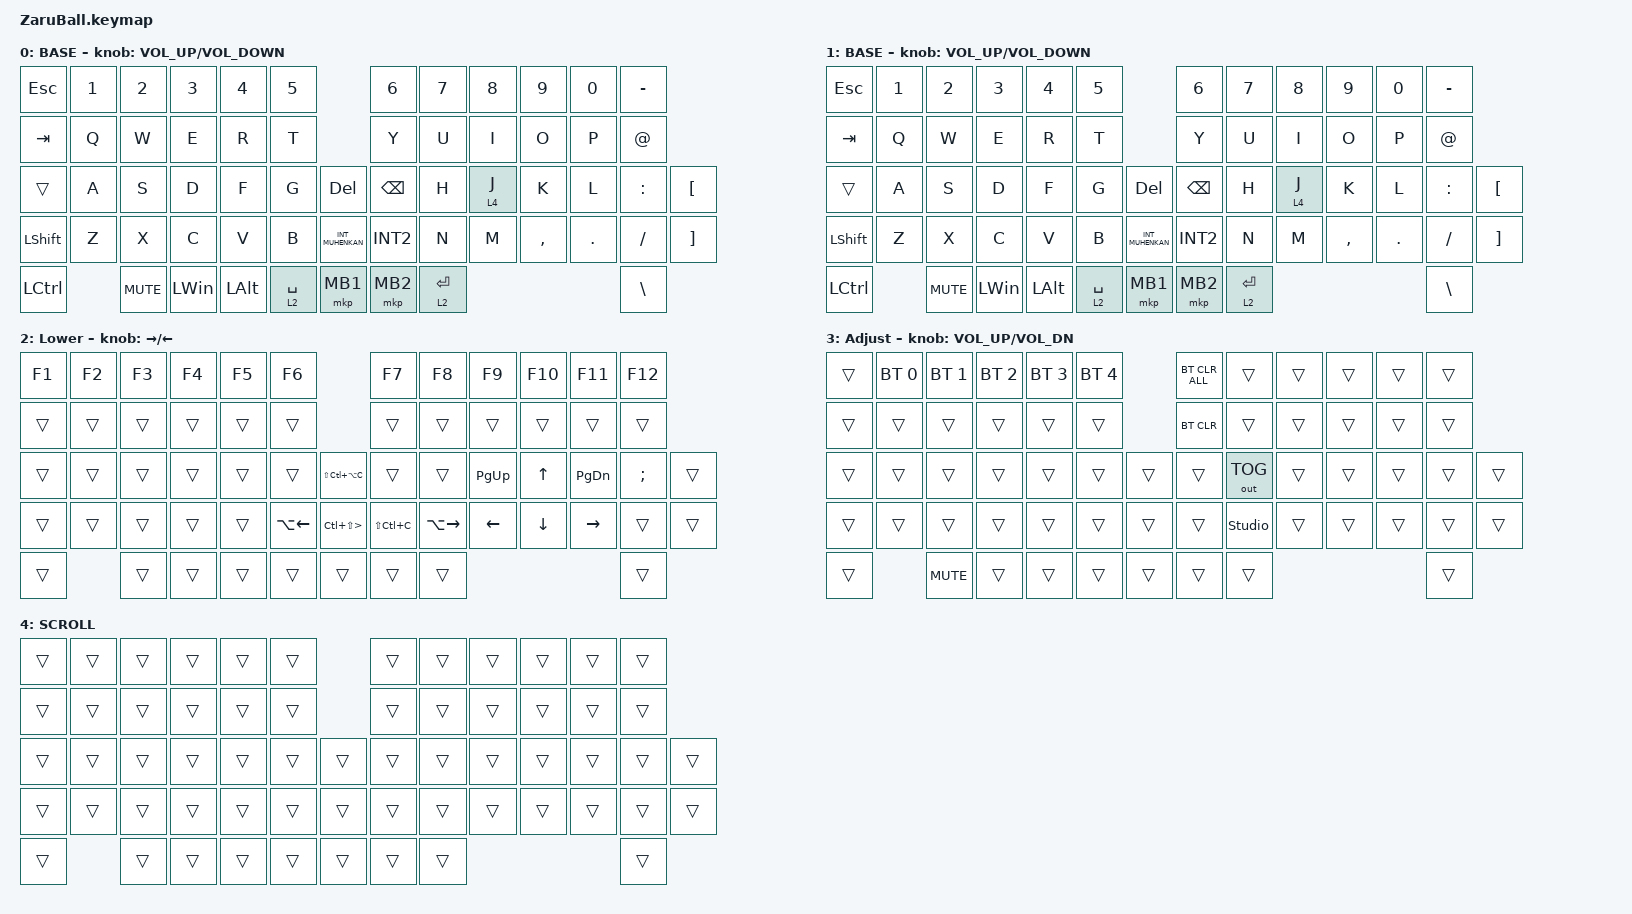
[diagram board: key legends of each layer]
#include <behaviors/rgbled_widget.dtsi>
#include <input/processors.dtsi>
#include <dt-bindings/zmk/input_transform.h>
#include <behaviors.dtsi>
#include <dt-bindings/zmk/bt.h>
#include <dt-bindings/zmk/keys.h>
#include <dt-bindings/zmk/outputs.h>
#include <dt-bindings/zmk/pointing.h>

#define BASE 0
#define LOWER 1
#define RAISE 2
#define ADJUST 3
#define MOUSE 4
#define SCROLL 4

// スクロール量の設定

#define ZMK_POINTING_DEFAULT_SCRL_VAL 100

// トラックボールの設定(AML, SCROLL)

&trackball_listener {
    input-processors = <
                        // トラックボールの向きの変更(ZaruBallv1とv2,v3ではセンサーの向きが異なるので調整してください。デフォルトではv2,v3用)
                         &zip_xy_transform (INPUT_TRANSFORM_XY_SWAP | INPUT_TRANSFORM_Y_INVERT | INPUT_TRANSFORM_X_INVERT)
                         &zip_temp_layer MOUSE 500 // 500ms stay at mouse layer
    >;

    scroller {
        layers = <SCROLL>;
        input-processors = <
                            // スクロールの向きの変更
                            &zip_xy_transform (INPUT_TRANSFORM_XY_SWAP | INPUT_TRANSFORM_X_INVERT)
                            &zip_xy_scaler 1 20 // スクロールの感度(default: x20)
                            &zip_xy_to_scroll_mapper
        >;
    };
};

/ {
    conditional_layers {
        compatible = "zmk,conditional-layers";

        tri_layer {
            if-layers = <2 3>;
            then-layer = <3>;
        };
    };
};

/ {
    behaviors {
        // スクロール用のbehaviorの設定

        scroll_down_up: behavior_sensor_rotate_mouse_wheel_down_up {
            compatible = "zmk,behavior-sensor-rotate";
            #sensor-binding-cells = <0>;
            bindings = <&msc SCRL_DOWN>, <&msc SCRL_UP>;

            tap-ms = <20>; // スクロールのタップ時間
        };

        td0: tap_dance_0 {
            compatible = "zmk,behavior-tap-dance";
            #binding-cells = <0>;
            tapping-term-ms = <200>;
            bindings = <&mt LALT LANG2>, <&mo 1>, <&mo 1>;
        };

        td1: tap_dance_1 {
            compatible = "zmk,behavior-tap-dance";
            #binding-cells = <0>;
            tapping-term-ms = <200>;
            bindings = <&mt RCTL LANG1>, <&mo 1>, <&mo 1>;
        };
    };
};

&sl { release-after-ms = <250>; }; // time needed for double click (for mkp_exit_AML)
/ {
    macros {
        // When in AML, move to default layer when key (except mouse button) pressed

        to_layer_0: to_layer_0 {
            compatible = "zmk,behavior-macro-one-param";
            #binding-cells = <1>;
            bindings = <&to 1 &macro_param_1to1 &kp MACRO_PLACEHOLDER>;
            label = "TO_layer_0";
        };

        // When LCLK pressed, exit AML (after 250ms cause by sticky layer)

        mkp_exit_AML: mkp_exit_AML {
            compatible = "zmk,behavior-macro-one-param";
            #binding-cells = <1>;
            bindings =
                <&macro_press>,
                <&macro_param_1to1 &mkp MACRO_PLACEHOLDER>,
                <&macro_pause_for_release>,
                <&macro_release>,
                <&macro_param_1to1 &mkp MACRO_PLACEHOLDER>,
                <&macro_tap>,
                <&sl 1>;

            label = "MKP_EXIT_AML";
        };

        // Support swapping into Scroll layer when AML is activated

        to_scroll_layer: to_scroll_layer {
            compatible = "zmk,behavior-macro";
            #binding-cells = <0>;
            bindings =
                <&to 2>,
                <&macro_press>,
                <&mo 2>,
                <&macro_pause_for_release>,
                <&macro_release>,
                <&mo 2>;
        };
    };
};

/ {
    combos {
        compatible = "zmk,combos";

        adjust {
            bindings = <&lt 3 HOME>;
            key-positions = <44 45>;
        };
    };

    keymap {
        compatible = "zmk,keymap";

        BASE_Mac {
            display-name = "BASE";
            bindings = <
&kp ESC    &kp N1  &kp N2      &kp N3    &kp N4        &kp N5                         &kp NUMBER_6   &kp N7       &kp N8   &kp N9     &kp N0   &kp MINUS
&kp TAB    &kp Q   &kp W       &kp E     &kp R         &kp T                          &kp Y          &kp U        &kp I    &kp O      &kp P    &kp AT_SIGN
&trans     &kp A   &kp S       &kp D     &kp F         &kp G        &kp DELETE        &kp BACKSPACE  &kp H        &lt 4 J  &kp K      &kp L    &kp COLON      &kp LEFT_BRACKET
&kp LSHFT  &kp Z   &kp X       &kp C     &kp V         &kp B        &kp INT_MUHENKAN  &kp INT2       &kp N        &kp M    &kp COMMA  &kp DOT  &kp SLASH      &kp RIGHT_BRACKET
&kp LCTRL          &kp C_MUTE  &kp LWIN  &kp LEFT_ALT  &lt 2 SPACE  &mkp MB1          &mkp MB2       &lt 2 ENTER                               &kp BACKSLASH
            >;

            sensor-bindings = <&inc_dec_kp C_VOL_UP C_VOLUME_DOWN>;
        };

        BASE_Windows {
            display-name = "BASE";
            sensor-bindings = <&inc_dec_kp C_VOLUME_UP C_VOLUME_DOWN>;
            bindings = <
&kp ESC    &kp N1  &kp N2      &kp N3    &kp N4        &kp N5                         &kp NUMBER_6   &kp N7       &kp N8   &kp N9     &kp N0   &kp MINUS
&kp TAB    &kp Q   &kp W       &kp E     &kp R         &kp T                          &kp Y          &kp U        &kp I    &kp O      &kp P    &kp AT_SIGN
&trans     &kp A   &kp S       &kp D     &kp F         &kp G        &kp DELETE        &kp BACKSPACE  &kp H        &lt 4 J  &kp K      &kp L    &kp COLON      &kp LEFT_BRACKET
&kp LSHFT  &kp Z   &kp X       &kp C     &kp V         &kp B        &kp INT_MUHENKAN  &kp INT2       &kp N        &kp M    &kp COMMA  &kp DOT  &kp SLASH      &kp RIGHT_BRACKET
&kp LCTRL          &kp C_MUTE  &kp LWIN  &kp LEFT_ALT  &lt 2 SPACE  &mkp MB1          &mkp MB2       &lt 2 ENTER                               &kp BACKSLASH
            >;
        };

        lower_layer {
            display-name = "Lower";
            sensor-bindings = <&inc_dec_kp RIGHT LEFT>;
            bindings = <
&kp F1  &kp F2  &kp F3  &kp F4  &kp F5  &kp F6                                  &kp F7         &kp F8         &kp F9          &kp F10         &kp F11        &kp F12
&trans  &trans  &trans  &trans  &trans  &trans                                  &trans         &trans         &trans          &trans          &trans         &trans
&trans  &trans  &trans  &trans  &trans  &trans        &kp LS(LC(LA(C)))         &trans         &trans         &kp PAGE_UP     &kp UP_ARROW    &kp PAGE_DOWN  &kp SEMI  &trans
&trans  &trans  &trans  &trans  &trans  &kp LA(LEFT)  &kp LC(LS(GREATER_THAN))  &kp LS(LC(C))  &kp LA(RIGHT)  &kp LEFT_ARROW  &kp DOWN_ARROW  &kp RIGHT      &trans    &trans
&trans          &trans  &trans  &trans  &trans        &trans                    &trans         &trans                                                        &trans
            >;
        };

        adjust_layer {
            display-name = "Adjust";
            sensor-bindings = <&inc_dec_kp C_VOL_UP C_VOL_DN>;
            bindings = <
&trans  &bt BT_SEL 0  &bt BT_SEL 1  &bt BT_SEL 2  &bt BT_SEL 3  &bt BT_SEL 4          &bt BT_CLR_ALL  &trans          &trans  &trans  &trans  &trans
&trans  &trans        &trans        &trans        &trans        &trans                &bt BT_CLR      &trans          &trans  &trans  &trans  &trans
&trans  &trans        &trans        &trans        &trans        &trans        &trans  &trans          &out OUT_TOG    &trans  &trans  &trans  &trans  &trans
&trans  &trans        &trans        &trans        &trans        &trans        &trans  &trans          &studio_unlock  &trans  &trans  &trans  &trans  &trans
&trans                &kp C_MUTE    &trans        &trans        &trans        &trans  &trans          &trans                                  &trans
            >;
        };

        SCROLL {
            bindings = <
&trans  &trans  &trans  &trans  &trans  &trans          &trans  &trans  &trans  &trans  &trans  &trans
&trans  &trans  &trans  &trans  &trans  &trans          &trans  &trans  &trans  &trans  &trans  &trans
&trans  &trans  &trans  &trans  &trans  &trans  &trans  &trans  &trans  &trans  &trans  &trans  &trans  &trans
&trans  &trans  &trans  &trans  &trans  &trans  &trans  &trans  &trans  &trans  &trans  &trans  &trans  &trans
&trans          &trans  &trans  &trans  &trans  &trans  &trans  &trans                          &trans
            >;
        };
    };
};
